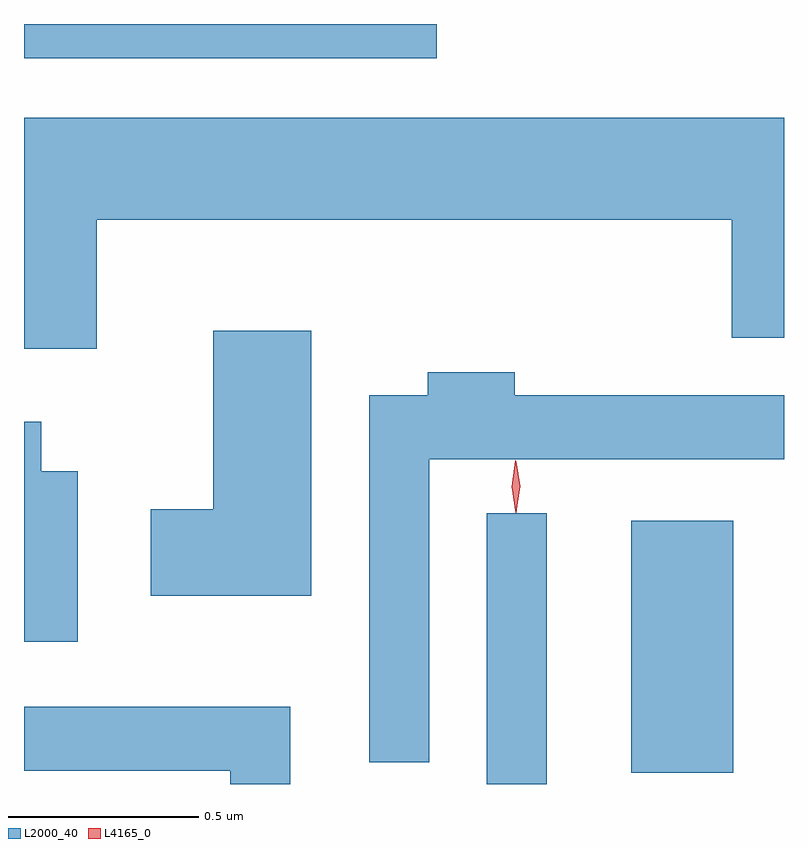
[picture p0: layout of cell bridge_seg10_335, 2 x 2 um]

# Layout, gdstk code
import gdstk
lib = gdstk.Library(unit=1e-6, precision=1e-09)
def R(c, l, rs):  # rectangles x0, y0, x1, y1
    for r in rs: c.add(gdstk.rectangle(r[:2], r[2:], *l))
def P(c, l, *ps):  # polygons
    for p in ps: c.add(gdstk.Polygon(p, *l))
L2000_40 = (2000, 40)
L4165_0 = (4165, 0)

bridge_seg10_335 = lib.new_cell('bridge_seg10_335')
R(bridge_seg10_335, L2000_40, [(1426.996,2159.051,1427.154,2159.763), (1427.376,2159.081,1427.644,2159.744), (1425.778,2160.961,1426.864,2161.051)])
P(bridge_seg10_335, L2000_40, [(1425.969,2160.536),(1427.641,2160.536),(1427.641,2160.226),(1427.778,2160.226),(1427.778,2160.804),(1425.778,2160.804),(1425.778,2160.196),(1425.969,2160.196)],
  [(1426.534,2160.244),(1426.276,2160.244),(1426.276,2159.774),(1426.111,2159.774),(1426.111,2159.546),(1426.534,2159.546)],
  [(1426.844,2159.906),(1427.778,2159.906),(1427.778,2160.074),(1427.069,2160.074),(1427.069,2160.134),(1426.841,2160.134),(1426.841,2160.074),(1426.686,2160.074),(1426.686,2159.108),(1426.844,2159.108)],
  [(1425.919,2159.874),(1425.824,2159.874),(1425.824,2160.004),(1425.778,2160.004),(1425.778,2159.426),(1425.919,2159.426)],
  [(1426.479,2159.254),(1425.778,2159.254),(1425.778,2159.086),(1426.321,2159.086),(1426.321,2159.051),(1426.479,2159.051)])
P(bridge_seg10_335, L4165_0, [(1427.073,2159.767),(1427.064,2159.834),(1427.073,2159.9),(1427.074,2159.901),(1427.074,2159.9),(1427.084,2159.834),(1427.074,2159.767),(1427.074,2159.767)],
  [(1427.072,2159.764),(1427.072,2159.764),(1427.062,2159.833),(1427.071,2159.902),(1427.072,2159.903),(1427.072,2159.902),(1427.082,2159.833),(1427.073,2159.764)])

lib.write_gds('bridge_seg10_335.gds')
